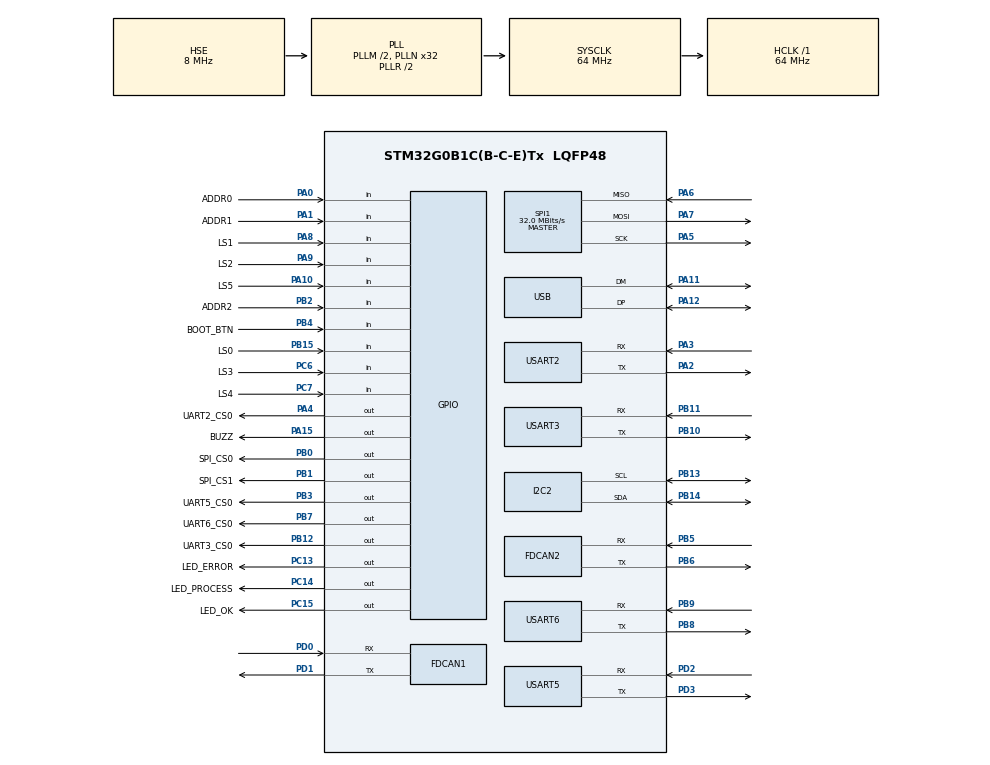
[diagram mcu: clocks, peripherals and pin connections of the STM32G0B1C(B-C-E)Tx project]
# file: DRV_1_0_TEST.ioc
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FDCAN1.CalculateBaudRateNominal=500000
FDCAN1.CalculateTimeBitNominal=2000
FDCAN1.CalculateTimeQuantumNominal=125.0
FDCAN1.NominalPrescaler=8
FDCAN1.NominalTimeSeg1=14
FDCAN2.CalculateBaudRateNominal=500000
FDCAN2.CalculateTimeBitNominal=2000
FDCAN2.CalculateTimeQuantumNominal=125.0
FDCAN2.NominalPrescaler=8
FDCAN2.NominalTimeSeg1=14
I2C2.Timing=0x10B17DB5
Mcu.Family=STM32G0
Mcu.Name=STM32G0B1C(B-C-E)Tx
Mcu.Package=LQFP48
NVIC.USB_UCPD1_2_IRQn=true\:0\:0\:false\:false\:true\:true\:true\:true
PA0.GPIO_Label=ADDR0
PA0.Signal=GPIO_Input
PA1.GPIO_Label=ADDR1
PA1.Signal=GPIO_Input
PA10.GPIO_Label=LS5
PA10.Signal=GPIO_Input
PA11\ [PA9].Mode=Device
PA11\ [PA9].Signal=USB_DM
PA12\ [PA10].Mode=Device
PA12\ [PA10].Signal=USB_DP
PA13.Mode=Serial_Wire
PA13.Signal=SYS_SWDIO
PA14-BOOT0.Mode=Serial_Wire
PA14-BOOT0.Signal=SYS_SWCLK
PA15.GPIO_Label=BUZZ
PA15.Signal=GPIO_Output
PA2.Mode=Asynchronous
PA2.Signal=USART2_TX
PA3.Mode=Asynchronous
PA3.Signal=USART2_RX
PA4.GPIO_Label=UART2_CS0
PA4.Signal=GPIO_Output
PA5.Mode=Full_Duplex_Master
PA5.Signal=SPI1_SCK
PA6.Mode=Full_Duplex_Master
PA6.Signal=SPI1_MISO
PA7.Mode=Full_Duplex_Master
PA7.Signal=SPI1_MOSI
PA8.GPIO_Label=LS1
PA8.Signal=GPIO_Input
PA9.GPIO_Label=LS2
PA9.Signal=GPIO_Input
PB0.GPIO_Label=SPI_CS0
PB0.Signal=GPIO_Output
PB1.GPIO_Label=SPI_CS1
PB1.Signal=GPIO_Output
PB10.Mode=Asynchronous
PB10.Signal=USART3_TX
PB11.Mode=Asynchronous
PB11.Signal=USART3_RX
PB12.GPIO_Label=UART3_CS0
PB12.Signal=GPIO_Output
PB13.Mode=I2C
PB13.Signal=I2C2_SCL
PB14.Mode=I2C
PB14.Signal=I2C2_SDA
PB15.GPIO_Label=LS0
PB15.Signal=GPIO_Input
PB2.GPIO_Label=ADDR2
PB2.Signal=GPIO_Input
PB3.GPIO_Label=UART5_CS0
PB3.Signal=GPIO_Output
PB4.GPIO_Label=BOOT_BTN
PB4.Signal=GPIO_Input
PB5.Mode=FDCAN_Activate
PB5.Signal=FDCAN2_RX
PB6.Mode=FDCAN_Activate
PB6.Signal=FDCAN2_TX
PB7.GPIO_Label=UART6_CS0
PB7.Signal=GPIO_Output
PB8.Mode=Asynchronous
PB8.Signal=USART6_TX
PB9.Mode=Asynchronous
PB9.Signal=USART6_RX
PC13.GPIO_Label=LED_ERROR
PC13.Signal=GPIO_Output
PC14-OSC32_IN\ (PC14).GPIO_Label=LED_PROCESS
PC14-OSC32_IN\ (PC14).Signal=GPIO_Output
PC15-OSC32_OUT\ (PC15).GPIO_Label=LED_OK
PC15-OSC32_OUT\ (PC15).Signal=GPIO_Output
PC6.GPIO_Label=LS3
PC6.Signal=GPIO_Input
PC7.GPIO_Label=LS4
PC7.Signal=GPIO_Input
PD0.Mode=FDCAN_Activate
PD0.Signal=FDCAN1_RX
PD1.Mode=FDCAN_Activate
PD1.Signal=FDCAN1_TX
PD2.Mode=Asynchronous
PD2.Signal=USART5_RX
PD3.Mode=Asynchronous
PD3.Signal=USART5_TX
PF0-OSC_IN\ (PF0).Mode=HSE-External-Oscillator
PF0-OSC_IN\ (PF0).Signal=RCC_OSC_IN
PF1-OSC_OUT\ (PF1).Mode=HSE-External-Oscillator
PF1-OSC_OUT\ (PF1).Signal=RCC_OSC_OUT
ProjectManager.HeapSize=0x2000
ProjectManager.StackSize=0x4000
ProjectManager.TargetToolchain=STM32CubeIDE
RCC.ADCFreq_Value=64000000
RCC.AHBFreq_Value=64000000
RCC.CortexFreq_Value=64000000
RCC.EXTERNAL_CLOCK_VALUE=48000
RCC.HCLKFreq_Value=64000000
RCC.HSE_VALUE=8000000
RCC.HSI48_VALUE=48000000
RCC.HSI_VALUE=16000000
RCC.LSE_VALUE=32768
RCC.PLLM=RCC_PLLM_DIV2
RCC.PLLN=32
RCC.PLLSourceVirtual=RCC_PLLSOURCE_HSE
RCC.SYSCLKFreq_VALUE=64000000
RCC.SYSCLKSource=RCC_SYSCLKSOURCE_PLLCLK
RCC.USBFreq_Value=48000000
RCC.VCOOutputFreq_Value=128000000
SPI1.BaudRatePrescaler=SPI_BAUDRATEPRESCALER_2
SPI1.CalculateBaudRate=32.0 MBits/s
SPI1.Direction=SPI_DIRECTION_2LINES
SPI1.Mode=SPI_MODE_MASTER
SPI1.VirtualType=VM_MASTER
USART2.VirtualMode-Asynchronous=VM_ASYNC
USART3.VirtualMode-Asynchronous=VM_ASYNC
USART5.VirtualMode-Asynchronous=VM_ASYNC
USART6.VirtualMode-Asynchronous=VM_ASYNC
USB_DEVICE.APP_RX_DATA_SIZE=512
USB_DEVICE.CLASS_NAME_FS=CDC
USB_DEVICE.MANUFACTURER_STRING=ACS
USB_DEVICE.PRODUCT_STRING_CDC_FS=ACS Virtual ComPort
USB_DEVICE.USBD_LPM_ENABLED=0
USB_DEVICE.VirtualMode=Cdc
USB_DEVICE.VirtualModeFS=Cdc_FS
VP_SYS_VS_DBSignals.Mode=DisableDeadBatterySignals
VP_USB_DEVICE_VS_USB_DEVICE_CDC_FS.Mode=CDC_FS
board=custom

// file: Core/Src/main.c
/* USER CODE BEGIN Header */
/**
  ******************************************************************************
  * @file           : main.c
  * @brief          : Main program body
  ******************************************************************************
  * @attention
  *
  * Copyright (c) 2023 STMicroelectronics.
  * All rights reserved.
  *
  * This software is licensed under terms that can be found in the LICENSE file
  * in the root directory of this software component.
  * If no LICENSE file comes with this software, it is provided AS-IS.
  *
  ******************************************************************************
  */
/* USER CODE END Header */
#include "main.h"
#include "fdcan.h"
#include "i2c.h"
#include "spi.h"
#include "usart.h"
#include "usb_device.h"
#include "gpio.h"

/* USER CODE BEGIN Includes */
#include "usbd_cdc_if.h"
#include <stdio.h>
#include "board_id.h"
/* USER CODE END Includes */

/* USER CODE BEGIN PV */
typedef struct
{
    GPIO_TypeDef* port;
    uint16_t pin;
} UART_CS_PIN_S;

UART_CS_PIN_S uart_cs_pin[4] = {
		{GPIOA, GPIO_PIN_4},
		{GPIOB, GPIO_PIN_12},
		{GPIOB, GPIO_PIN_3},
		{GPIOB, GPIO_PIN_7}};

UART_HandleTypeDef *uart_list[4] = { &huart2, &huart3, &huart5, &huart6 };
/* USER CODE END PV */

void SystemClock_Config(void);
/* USER CODE BEGIN PFP */
static void LS_Test(void);
/* USER CODE END PFP */

int main(void)
{

  /* MCU Configuration--------------------------------------------------------*/

  /* Reset of all peripherals, Initializes the Flash interface and the Systick. */
  HAL_Init();

  /* Configure the system clock */
  SystemClock_Config();

  /* Initialize all configured peripherals */
  MX_GPIO_Init();
  MX_FDCAN1_Init();
  MX_FDCAN2_Init();
  MX_I2C2_Init();
  MX_SPI1_Init();
  MX_USART2_UART_Init();
  MX_USART3_UART_Init();
  MX_USART5_UART_Init();
  MX_USART6_UART_Init();
  MX_USB_Device_Init();
  /* USER CODE BEGIN 2 */
	FDCAN_TxHeaderTypeDef can1TxHeader;

	char *cdc_data[64];
	char *uart_data[64];
	uint8_t can1_data[] = { 1, 2, 3, 4, 5, 6, 7, 8 };
	uint8_t board_id = BOARD_ID_Get();

	HAL_FDCAN_Start(&hfdcan1);

	can1TxHeader.Identifier = 0x11;
	can1TxHeader.IdType = FDCAN_STANDARD_ID;
	can1TxHeader.TxFrameType = FDCAN_DATA_FRAME;
	can1TxHeader.DataLength = FDCAN_DLC_BYTES_8;
	can1TxHeader.ErrorStateIndicator = FDCAN_ESI_ACTIVE;
	can1TxHeader.BitRateSwitch = FDCAN_BRS_OFF;
	can1TxHeader.FDFormat = FDCAN_FD_CAN;
	can1TxHeader.TxEventFifoControl = FDCAN_NO_TX_EVENTS;
	can1TxHeader.MessageMarker = 0;
  /* USER CODE END 2 */

  /* Infinite loop */
  /* USER CODE BEGIN WHILE */

	uint32_t cdc_str_len = sprintf((char*)cdc_data, "DRV_BOARD_ID [ 0x%02X ]: CDC \r\n", board_id);

	while (1)
	{
		LS_Test();
		CDC_Transmit_FS((uint8_t*)cdc_data, cdc_str_len);
		HAL_FDCAN_AddMessageToTxFifoQ(&hfdcan1, &can1TxHeader, can1_data);
		for (uint8_t i = 0; i < 4; i++)
		{
			uint32_t length = sprintf((char*) uart_data, "Hello from drv board: UART Transport [%02d]!!!\r\n", i);
			HAL_GPIO_WritePin(uart_cs_pin[i].port, uart_cs_pin[i].pin,GPIO_PIN_SET);
			HAL_UART_Transmit(uart_list[i], (uint8_t*) uart_data, length, 100);
			HAL_GPIO_WritePin(uart_cs_pin[i].port, uart_cs_pin[i].pin, GPIO_PIN_RESET);
		}
		HAL_Delay(100);

    /* USER CODE END WHILE */

	}
}

void SystemClock_Config(void)
{
  RCC_OscInitTypeDef RCC_OscInitStruct = {0};
  RCC_ClkInitTypeDef RCC_ClkInitStruct = {0};

  /** Configure the main internal regulator output voltage
  */
  HAL_PWREx_ControlVoltageScaling(PWR_REGULATOR_VOLTAGE_SCALE1);

  /** Initializes the RCC Oscillators according to the specified parameters
  * in the RCC_OscInitTypeDef structure.
  */
  RCC_OscInitStruct.OscillatorType = RCC_OSCILLATORTYPE_HSE|RCC_OSCILLATORTYPE_HSI48;
  RCC_OscInitStruct.HSEState = RCC_HSE_ON;
  RCC_OscInitStruct.HSI48State = RCC_HSI48_ON;
  RCC_OscInitStruct.PLL.PLLState = RCC_PLL_ON;
  RCC_OscInitStruct.PLL.PLLSource = RCC_PLLSOURCE_HSE;
  RCC_OscInitStruct.PLL.PLLM = RCC_PLLM_DIV2;
  RCC_OscInitStruct.PLL.PLLN = 32;
  RCC_OscInitStruct.PLL.PLLP = RCC_PLLP_DIV2;
  RCC_OscInitStruct.PLL.PLLQ = RCC_PLLQ_DIV2;
  RCC_OscInitStruct.PLL.PLLR = RCC_PLLR_DIV2;
  if (HAL_RCC_OscConfig(&RCC_OscInitStruct) != HAL_OK)
  {
    Error_Handler();
  }

  /** Initializes the CPU, AHB and APB buses clocks
  */
  RCC_ClkInitStruct.ClockType = RCC_CLOCKTYPE_HCLK|RCC_CLOCKTYPE_SYSCLK
                              |RCC_CLOCKTYPE_PCLK1;
  RCC_ClkInitStruct.SYSCLKSource = RCC_SYSCLKSOURCE_PLLCLK;
  RCC_ClkInitStruct.AHBCLKDivider = RCC_SYSCLK_DIV1;
  RCC_ClkInitStruct.APB1CLKDivider = RCC_HCLK_DIV1;

  if (HAL_RCC_ClockConfig(&RCC_ClkInitStruct, FLASH_LATENCY_2) != HAL_OK)
  {
    Error_Handler();
  }
}

/* USER CODE BEGIN 4 */

/*
LS0 -> PB15
LS1 -> PA8

LS2 -> PA9
LS3 -> PC6

LS4 -> PC7
LS5 -> PA10
*/

static void LS_Test(void)
{

	if (HAL_GPIO_ReadPin(GPIOB, GPIO_PIN_15) == GPIO_PIN_SET)
	{
		HAL_GPIO_WritePin(GPIOC, GPIO_PIN_13, GPIO_PIN_SET);
	}
	else if (HAL_GPIO_ReadPin(GPIOA, GPIO_PIN_8) == GPIO_PIN_SET)
	{
		HAL_GPIO_WritePin(GPIOC, GPIO_PIN_13, GPIO_PIN_SET);
	}
	else
	{
		HAL_GPIO_WritePin(GPIOC, GPIO_PIN_13, GPIO_PIN_RESET);
	}

	if (HAL_GPIO_ReadPin(GPIOA, GPIO_PIN_9) == GPIO_PIN_SET)
	{
		HAL_GPIO_WritePin(GPIOC, GPIO_PIN_14, GPIO_PIN_SET);
	}
	else if (HAL_GPIO_ReadPin(GPIOC, GPIO_PIN_6) == GPIO_PIN_SET)
	{
		HAL_GPIO_WritePin(GPIOC, GPIO_PIN_14, GPIO_PIN_SET);
	}
	else
	{
		HAL_GPIO_WritePin(GPIOC, GPIO_PIN_14, GPIO_PIN_RESET);
	}

	if (HAL_GPIO_ReadPin(GPIOC, GPIO_PIN_7) == GPIO_PIN_SET)
	{
		HAL_GPIO_WritePin(GPIOC, GPIO_PIN_15, GPIO_PIN_SET);
	}
	else if (HAL_GPIO_ReadPin(GPIOA, GPIO_PIN_10) == GPIO_PIN_SET)
	{
		HAL_GPIO_WritePin(GPIOC, GPIO_PIN_15, GPIO_PIN_SET);
	}
	else
	{
		HAL_GPIO_WritePin(GPIOC, GPIO_PIN_15, GPIO_PIN_RESET);
	}
}
/* USER CODE END 4 */

void Error_Handler(void)
{
  __disable_irq();
  while (1)
  {
  }
}
